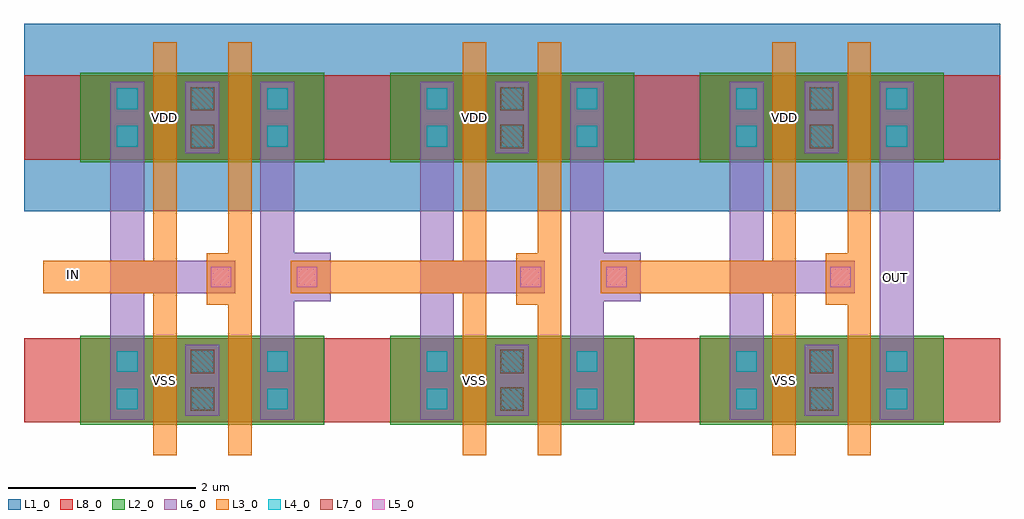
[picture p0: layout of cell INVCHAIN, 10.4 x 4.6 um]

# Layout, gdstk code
from math import pi, radians
import gdstk
lib = gdstk.Library(unit=1e-6, precision=1e-09)
def R(c, l, rs):  # rectangles x0, y0, x1, y1
    for r in rs: c.add(gdstk.rectangle(r[:2], r[2:], *l))
def A(c, l, x, y, w, h, nx, ny, dx, dy):  # array of equal rectangles
    R(c, l, [(x+i*dx, y+j*dy, x+i*dx+w, y+j*dy+h) for i in range(nx) for j in range(ny)])
L1_0 = (1, 0)
L2_0 = (2, 0)
L3_0 = (3, 0)
L4_0 = (4, 0)
L5_0 = (5, 0)
L6_0 = (6, 0)
L7_0 = (7, 0)
L8_0 = (8, 0)

trans = lib.new_cell('TRANS')
R(trans, L2_0, [(-0.9,-0.475,0.9,0.475)])
R(trans, L4_0, [(-0.51,-0.31,-0.29,-0.09), (0.29,-0.31,0.51,-0.09), (-0.51,0.09,-0.29,0.31), (0.29,0.09,0.51,0.31)])
R(trans, L6_0, [(-0.58,-0.38,-0.22,0.38), (0.22,-0.38,0.58,0.38)])
trans.add(gdstk.FlexPath([(0,-0.8),(0,0.8)], 0.25, ends="flush", simple_path=True, layer=3, datatype=0))  # L3_0

inv = lib.new_cell('INV')
R(inv, L1_0, [(-1.5,1.8,1.5,3.8)])
R(inv, L3_0, [(-0.125,-0.25,0.125,2.25)])
R(inv, L6_0, [(-0.58,-0.42,-0.22,2.42)])
R(inv, L7_0, [(0.275,-0.325,0.525,-0.075), (0.275,0.075,0.525,0.325), (0.275,2.475,0.525,2.725), (0.275,2.875,0.525,3.125)])
R(inv, L8_0, [(-1.5,-0.45,1.5,0.45), (-1.5,2.35,1.5,3.25)])
inv.add(gdstk.Reference(trans, (0,0)))
inv.add(gdstk.Reference(trans, (0,2.8)))

inv2 = lib.new_cell('INV2')
inv2.add(gdstk.Reference(inv, (1.5,0.8), rotation=pi, x_reflection=True))
inv2.add(gdstk.Reference(inv, (4,0.8)))

inv3 = lib.new_cell('INV3')
inv3.add(gdstk.Reference(inv, (1.5,0.8)))
inv3.add(gdstk.Reference(inv, (4.8,0.8)))
inv3.add(gdstk.Reference(inv, (2.3,0.8), rotation=pi, x_reflection=True))
inv3.add(gdstk.Label('3', (1.51,1.93), layer=3, texttype=1))
inv3.add(gdstk.Label('5', (2.32,1.91), layer=3, texttype=1))
inv3.add(gdstk.Label('7', (4.83,1.89), layer=3, texttype=1))
inv3.add(gdstk.Label('4', (1.09,1.97), layer=6, texttype=1))
inv3.add(gdstk.Label('6', (2.68,1.94), layer=6, texttype=1))
inv3.add(gdstk.Label('8', (4.41,1.92), layer=6, texttype=1))

invchain = lib.new_cell('INVCHAIN')
A(invchain, L3_0, 0.445, 0.805, 0.48, 0.55, 3, 1, 3.3, 0)
R(invchain, L3_0, [(-1.295,0.925,-0.06,1.275), (1.345,0.925,3.29,1.275), (4.645,0.925,6.59,1.275)])
R(invchain, L5_0, [(0.49,0.99,0.71,1.21), (1.405,0.99,1.625,1.21), (3.79,0.99,4.01,1.21), (4.705,0.99,4.925,1.21), (7.09,0.99,7.31,1.21)])
A(invchain, L6_0, -0.355, 0.925, 1.105, 0.35, 3, 1, 3.3, 0)
R(invchain, L6_0, [(1.33,0.84,1.77,1.36), (4.63,0.84,5.07,1.36)])
invchain.add(gdstk.Reference(inv2, (2.6,-0.8)))
invchain.add(gdstk.Reference(inv, (7.4,0), rotation=pi, x_reflection=True))
invchain.add(gdstk.Reference(inv3, (-1.5,-0.8)))
invchain.add(gdstk.Label('IN', (-0.97,1.125), layer=3, texttype=1))
invchain.add(gdstk.Label('OUT', (7.79,1.1), layer=6, texttype=1))
invchain.add(gdstk.Label('VSS', (6.6,0), layer=8, texttype=1))
invchain.add(gdstk.Label('VSS', (3.3,0), layer=8, texttype=1))
invchain.add(gdstk.Label('VDD', (3.3,2.8), layer=8, texttype=1))
invchain.add(gdstk.Label('VDD', (6.6,2.8), layer=8, texttype=1))
invchain.add(gdstk.Label('VSS', (0,0), layer=8, texttype=1))
invchain.add(gdstk.Label('VDD', (0,2.8), layer=8, texttype=1))

lib.write_gds('INVCHAIN.gds')
